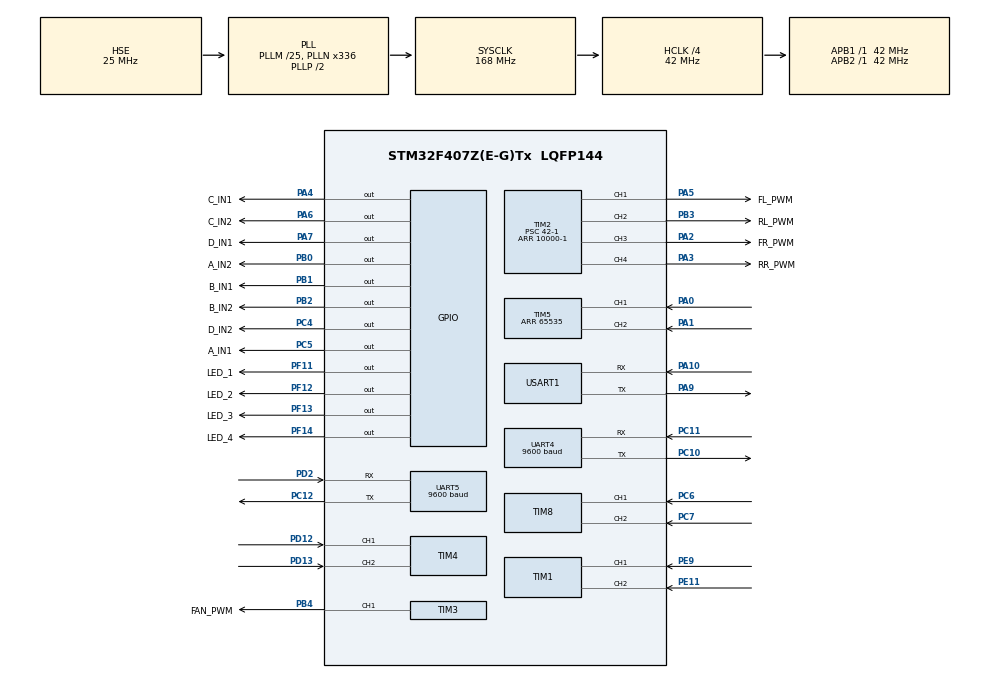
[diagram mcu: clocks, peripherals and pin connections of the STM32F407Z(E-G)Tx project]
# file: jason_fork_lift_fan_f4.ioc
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Mcu.Family=STM32F4
Mcu.Name=STM32F407Z(E-G)Tx
Mcu.Package=LQFP144
NVIC.PriorityGroup=NVIC_PRIORITYGROUP_4
PA0-WKUP.Signal=S_TIM5_CH1
PA1.Signal=S_TIM5_CH2
PA10.Mode=Asynchronous
PA10.Signal=USART1_RX
PA13.Mode=Serial_Wire
PA13.Signal=SYS_JTMS-SWDIO
PA14.Mode=Serial_Wire
PA14.Signal=SYS_JTCK-SWCLK
PA2.GPIO_Label=FR_PWM
PA2.Signal=S_TIM2_CH3
PA3.GPIO_Label=RR_PWM
PA3.Signal=S_TIM2_CH4
PA4.GPIO_Label=C_IN1
PA4.Signal=GPIO_Output
PA5.GPIO_Label=FL_PWM
PA5.Signal=S_TIM2_CH1_ETR
PA6.GPIO_Label=C_IN2
PA6.Signal=GPIO_Output
PA7.GPIO_Label=D_IN1
PA7.Signal=GPIO_Output
PA9.Mode=Asynchronous
PA9.Signal=USART1_TX
PB0.GPIO_Label=A_IN2
PB0.Signal=GPIO_Output
PB1.GPIO_Label=B_IN1
PB1.Signal=GPIO_Output
PB2.GPIO_Label=B_IN2
PB2.Signal=GPIO_Output
PB3.GPIO_Label=RL_PWM
PB3.Signal=S_TIM2_CH2
PB4.GPIO_Label=FAN_PWM
PB4.Signal=S_TIM3_CH1
PC10.Mode=Asynchronous
PC10.Signal=UART4_TX
PC11.Mode=Asynchronous
PC11.Signal=UART4_RX
PC12.Mode=Asynchronous
PC12.Signal=UART5_TX
PC14-OSC32_IN.Mode=LSE-External-Oscillator
PC14-OSC32_IN.Signal=RCC_OSC32_IN
PC15-OSC32_OUT.Mode=LSE-External-Oscillator
PC15-OSC32_OUT.Signal=RCC_OSC32_OUT
PC4.GPIO_Label=D_IN2
PC4.Signal=GPIO_Output
PC5.GPIO_Label=A_IN1
PC5.Signal=GPIO_Output
PC6.Signal=S_TIM8_CH1
PC7.Signal=S_TIM8_CH2
PD12.Signal=S_TIM4_CH1
PD13.Signal=S_TIM4_CH2
PD2.Mode=Asynchronous
PD2.Signal=UART5_RX
PE11.Signal=S_TIM1_CH2
PE9.Signal=S_TIM1_CH1
PF11.GPIO_Label=LED_1
PF11.Signal=GPIO_Output
PF12.GPIO_Label=LED_2
PF12.Signal=GPIO_Output
PF13.GPIO_Label=LED_3
PF13.Signal=GPIO_Output
PF14.GPIO_Label=LED_4
PF14.Signal=GPIO_Output
PH0-OSC_IN.Mode=HSE-External-Oscillator
PH0-OSC_IN.Signal=RCC_OSC_IN
PH1-OSC_OUT.Mode=HSE-External-Oscillator
PH1-OSC_OUT.Signal=RCC_OSC_OUT
ProjectManager.HeapSize=0x200
ProjectManager.StackSize=0x400
ProjectManager.TargetToolchain=STM32CubeIDE
RCC.48MHZClocksFreq_Value=84000000
RCC.AHBCLKDivider=RCC_SYSCLK_DIV4
RCC.AHBFreq_Value=42000000
RCC.APB1Freq_Value=42000000
RCC.APB1TimFreq_Value=42000000
RCC.APB2Freq_Value=42000000
RCC.APB2TimFreq_Value=42000000
RCC.CortexFreq_Value=42000000
RCC.HCLKFreq_Value=42000000
RCC.HSE_VALUE=25000000
RCC.HSI_VALUE=16000000
RCC.PLLM=25
RCC.PLLN=336
RCC.PLLSourceVirtual=RCC_PLLSOURCE_HSE
RCC.SYSCLKFreq_VALUE=168000000
RCC.SYSCLKSource=RCC_SYSCLKSOURCE_PLLCLK
RCC.VCOOutputFreq_Value=336000000
SH.S_TIM1_CH1.0=TIM1_CH1,Encoder_Interface
SH.S_TIM1_CH2.0=TIM1_CH2,Encoder_Interface
SH.S_TIM2_CH1_ETR.0=TIM2_CH1,PWM Generation1 CH1
SH.S_TIM2_CH2.0=TIM2_CH2,PWM Generation2 CH2
SH.S_TIM2_CH3.0=TIM2_CH3,PWM Generation3 CH3
SH.S_TIM2_CH4.0=TIM2_CH4,PWM Generation4 CH4
SH.S_TIM3_CH1.0=TIM3_CH1,PWM Generation1 CH1
SH.S_TIM4_CH1.0=TIM4_CH1,Encoder_Interface
SH.S_TIM4_CH2.0=TIM4_CH2,Encoder_Interface
SH.S_TIM5_CH1.0=TIM5_CH1,Encoder_Interface
SH.S_TIM5_CH2.0=TIM5_CH2,Encoder_Interface
SH.S_TIM8_CH1.0=TIM8_CH1,Encoder_Interface
SH.S_TIM8_CH2.0=TIM8_CH2,Encoder_Interface
TIM1.AutoReloadPreload=TIM_AUTORELOAD_PRELOAD_ENABLE
TIM1.EncoderMode=TIM_ENCODERMODE_TI12
TIM1.IC1Filter=5
TIM2.AutoReloadPreload=TIM_AUTORELOAD_PRELOAD_ENABLE
TIM2.Channel-PWM\ Generation1\ CH1=TIM_CHANNEL_1
TIM2.Channel-PWM\ Generation2\ CH2=TIM_CHANNEL_2
TIM2.Channel-PWM\ Generation3\ CH3=TIM_CHANNEL_3
TIM2.Channel-PWM\ Generation4\ CH4=TIM_CHANNEL_4
TIM2.Period=10000-1
TIM2.Prescaler=42-1
TIM3.AutoReloadPreload=TIM_AUTORELOAD_PRELOAD_ENABLE
TIM3.Channel-PWM\ Generation1\ CH1=TIM_CHANNEL_1
TIM3.Period=10000-1
TIM3.Prescaler=42-1
TIM4.AutoReloadPreload=TIM_AUTORELOAD_PRELOAD_ENABLE
TIM4.EncoderMode=TIM_ENCODERMODE_TI12
TIM4.IC1Filter=5
TIM4.IC2Filter=5
TIM5.AutoReloadPreload=TIM_AUTORELOAD_PRELOAD_ENABLE
TIM5.EncoderMode=TIM_ENCODERMODE_TI12
TIM5.IC1Filter=5
TIM5.IC2Filter=5
TIM5.Period=65535
TIM8.AutoReloadPreload=TIM_AUTORELOAD_PRELOAD_ENABLE
TIM8.EncoderMode=TIM_ENCODERMODE_TI12
TIM8.IC1Filter=5
TIM8.IC2Filter=5
UART4.BaudRate=9600
UART4.VirtualMode=Asynchronous
UART5.BaudRate=9600
UART5.VirtualMode=Asynchronous
USART1.VirtualMode=VM_ASYNC
VP_TIM2_VS_ClockSourceINT.Mode=Internal
VP_TIM3_VS_ClockSourceINT.Mode=Internal
board=custom

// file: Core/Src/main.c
/* USER CODE BEGIN Header */
/**
 ******************************************************************************
 * @file           : main.c
 * @brief          : Main program body
 ******************************************************************************
 * @attention
 *
 * Copyright (c) 2025 STMicroelectronics.
 * All rights reserved.
 *
 * This software is licensed under terms that can be found in the LICENSE file
 * in the root directory of this software component.
 * If no LICENSE file comes with this software, it is provided AS-IS.
 *
 ******************************************************************************
 */
/* USER CODE END Header */
#include "main.h"
#include "tim.h"
#include "usart.h"
#include "gpio.h"

/* USER CODE BEGIN Includes */
#include "auto_path.h"
#include "controller.h"
#include "mech.h"
#include "movement.h"
#include "robot.h"
#include "servo.h"

/* USER CODE END Includes */

/* USER CODE BEGIN PM */
#define TEST 1

/* USER CODE END PM */

/* USER CODE BEGIN PV */
int time_stamp = 0;

/* USER CODE END PV */

void SystemClock_Config(void);

int main(void)
{

  /* MCU Configuration--------------------------------------------------------*/

  /* Reset of all peripherals, Initializes the Flash interface and the Systick. */
  HAL_Init();

  /* Configure the system clock */
  SystemClock_Config();

  /* Initialize all configured peripherals */
  MX_GPIO_Init();
  MX_TIM1_Init();
  MX_TIM2_Init();
  MX_TIM3_Init();
  MX_TIM4_Init();
  MX_TIM5_Init();
  MX_TIM8_Init();
  MX_USART1_UART_Init();
  MX_UART5_Init();
  MX_UART4_Init();
  /* USER CODE BEGIN 2 */
  HAL_TIM_PWM_Start(&htim2, TIM_CHANNEL_1);
  HAL_TIM_PWM_Start(&htim2, TIM_CHANNEL_2);
  HAL_TIM_PWM_Start(&htim2, TIM_CHANNEL_3);
  HAL_TIM_PWM_Start(&htim2, TIM_CHANNEL_4);
  HAL_TIM_PWM_Start(&htim3, TIM_CHANNEL_1);
  HAL_TIM_Base_Start_IT(&htim1);
  HAL_TIM_Encoder_Start_IT(&htim1, TIM_CHANNEL_ALL);
  HAL_TIM_Base_Start_IT(&htim4);
  HAL_TIM_Encoder_Start_IT(&htim4, TIM_CHANNEL_ALL);
  HAL_TIM_Base_Start_IT(&htim5);
  HAL_TIM_Encoder_Start_IT(&htim5, TIM_CHANNEL_ALL);
  HAL_TIM_Base_Start_IT(&htim8);
  HAL_TIM_Encoder_Start_IT(&htim8, TIM_CHANNEL_ALL);

  HAL_GPIO_WritePin(LED_1_GPIO_Port, LED_1_Pin, GPIO_PIN_RESET);
  HAL_GPIO_WritePin(LED_2_GPIO_Port, LED_2_Pin, GPIO_PIN_RESET);
  HAL_GPIO_WritePin(LED_3_GPIO_Port, LED_3_Pin, GPIO_PIN_RESET);
  HAL_GPIO_WritePin(LED_4_GPIO_Port, LED_4_Pin, GPIO_PIN_RESET);

  // servo_reset_all();
  HAL_Delay(1000);
  // TIM3->CCR1 = 1500;
  // TIM3->CCR1 = 1500;
  // HAL_Delay(1000);
  // TIM2->CCR1 = 10000 / 2;
  // TIM2->CCR2 = 10000 / 2;
  // TIM2->CCR3 = 10000 / 2;
  // TIM2->CCR4 = 10000 / 2;

  // HAL_GPIO_WritePin(C_IN1_GPIO_Port, C_IN1_Pin, GPIO_PIN_SET);
  // HAL_GPIO_WritePin(C_IN2_GPIO_Port, C_IN2_Pin, GPIO_PIN_RESET);
  // HAL_GPIO_WritePin(A_IN1_GPIO_Port, A_IN1_Pin, GPIO_PIN_SET);
  // HAL_GPIO_WritePin(A_IN2_GPIO_Port, A_IN2_Pin, GPIO_PIN_RESET);
  // HAL_GPIO_WritePin(B_IN1_GPIO_Port, B_IN1_Pin, GPIO_PIN_SET);
  // HAL_GPIO_WritePin(B_IN2_GPIO_Port, B_IN2_Pin, GPIO_PIN_RESET);
  // HAL_GPIO_WritePin(D_IN1_GPIO_Port, D_IN1_Pin, GPIO_PIN_SET);
  // HAL_GPIO_WritePin(D_IN2_GPIO_Port, D_IN2_Pin, GPIO_PIN_RESET);

  /* USER CODE END 2 */

  /* Infinite loop */
  while (1) {

    /* USER CODE BEGIN 3 */
    HAL_Delay(1);
    read_current_velocity(encoders);
#if (TEST == 0)
    HAL_UART_Receive(&huart1, (uint8_t *)&controller_buffer, sizeof(controller_buffer), 0xFFFF);
    parse_controller_data(controller_buffer, &controller_state);

    if (controller_state.options_button && !prev_turn_on) {
      turn_on = !turn_on;
      HAL_GPIO_WritePin(LED_1_GPIO_Port, LED_1_Pin, turn_on ? GPIO_PIN_RESET : GPIO_PIN_SET);
    }
    prev_turn_on = controller_state.options_button;

    if (turn_on) {
      if (auto_path_selection == LEFT_PATH) {
        HAL_GPIO_WritePin(LED_2_GPIO_Port, LED_2_Pin, GPIO_PIN_SET);
        HAL_GPIO_WritePin(LED_3_GPIO_Port, LED_3_Pin, GPIO_PIN_SET);
        HAL_GPIO_WritePin(LED_4_GPIO_Port, LED_4_Pin, GPIO_PIN_RESET);
      } else if (auto_path_selection == MID_PATH) {
        HAL_GPIO_WritePin(LED_2_GPIO_Port, LED_2_Pin, GPIO_PIN_SET);
        HAL_GPIO_WritePin(LED_3_GPIO_Port, LED_3_Pin, GPIO_PIN_RESET);
        HAL_GPIO_WritePin(LED_4_GPIO_Port, LED_4_Pin, GPIO_PIN_SET);
      } else if (auto_path_selection == RIGHT_PATH) {
        HAL_GPIO_WritePin(LED_2_GPIO_Port, LED_2_Pin, GPIO_PIN_RESET);
        HAL_GPIO_WritePin(LED_3_GPIO_Port, LED_3_Pin, GPIO_PIN_SET);
        HAL_GPIO_WritePin(LED_4_GPIO_Port, LED_4_Pin, GPIO_PIN_SET);
      }

      if (controller_state.ps_button && !prev_auto_path_enable) {
        auto_path_enable = !auto_path_enable;
        if (auto_path_enable)
          follow_auto_path(auto_path_selection);
      }
      prev_auto_path_enable = controller_state.ps_button;

      if (controller_state.cross && !prev_auto_path_switch) {
        auto_path_switch = !auto_path_switch;
        if (auto_path_selection == LEFT_PATH)
          auto_path_selection = MID_PATH;
        else if (auto_path_selection == MID_PATH)
          auto_path_selection = RIGHT_PATH;
        else if (auto_path_selection == RIGHT_PATH)
          auto_path_selection = LEFT_PATH;
      }  // auto, choose path, toggle left / right / straight forward
      prev_auto_path_switch = controller_state.cross;

      if (controller_state.r1) {
        BaseVelocity target_vel = {0, 0, ROBOT_MAX_Z_VELOCITY * 0.35};
        movement_control(target_vel);
      } else if (controller_state.l1) {
        BaseVelocity target_vel = {0, 0, ROBOT_MAX_Z_VELOCITY * -0.35};
        movement_control(target_vel);
      } else if (controller_state.up) {
        BaseVelocity target_vel = {0,
                                   ROBOT_MAX_Y_VELOCITY * 0.75,
                                   0};
        movement_control(target_vel);
      } else if (controller_state.down) {
        BaseVelocity target_vel = {0,
                                   ROBOT_MAX_Y_VELOCITY * -0.75,
                                   0};
        movement_control(target_vel);
      } else if (controller_state.left) {
        BaseVelocity target_vel = {ROBOT_MAX_X_VELOCITY * -0.75,
                                   0,
                                   0};
        movement_control(target_vel);
      } else if (controller_state.right) {
        BaseVelocity target_vel = {ROBOT_MAX_X_VELOCITY * 0.75,
                                   0,
                                   0};
        movement_control(target_vel);
      } else {
        WheelPWM target_pwm = {0, 0, 0, 0};
        wheels_control(target_pwm);
      }
    }

    if (controller_state.triangle && !prev_turn_on_fan) {
      turn_on_fan = !turn_on_fan;
      if (turn_on_fan)
        TIM3->CCR1 = 1250;
      else
        TIM3->CCR1 = 1300;
    }
    prev_turn_on_fan = controller_state.triangle;
#else
    HAL_GPIO_WritePin(LED_1_GPIO_Port, LED_1_Pin, GPIO_PIN_RESET);
    HAL_GPIO_WritePin(LED_2_GPIO_Port, LED_2_Pin, GPIO_PIN_RESET);
    HAL_GPIO_WritePin(LED_3_GPIO_Port, LED_3_Pin, GPIO_PIN_RESET);
    uint8_t send_buffer_test[10];
    send_buffer_test[0] = 0x55;
    send_buffer_test[1] = 0x55;
    send_buffer_test[2] = 0x08;
    send_buffer_test[3] = 0x03;
    send_buffer_test[4] = 0x01;
    send_buffer_test[5] = 0xE8;
    send_buffer_test[6] = 0x03;
    send_buffer_test[7] = 0x01;
    send_buffer_test[8] = 0x20;
    send_buffer_test[9] = 0x03;
    HAL_UART_Transmit(&huart4, send_buffer_test, sizeof(send_buffer_test), 0xFFFF);
    HAL_Delay(3000);
    // TIM2->CCR1 = 10000 / 3;
    // TIM2->CCR2 = 10000 / 3;
    // TIM2->CCR3 = 10000 / 3;
    // TIM2->CCR4 = 10000 / 3;
    // HAL_GPIO_WritePin(C_IN1_GPIO_Port, C_IN1_Pin, GPIO_PIN_SET);
    // HAL_GPIO_WritePin(C_IN2_GPIO_Port, C_IN2_Pin, GPIO_PIN_RESET);
    // HAL_GPIO_WritePin(A_IN1_GPIO_Port, A_IN1_Pin, GPIO_PIN_SET);
    // HAL_GPIO_WritePin(A_IN2_GPIO_Port, A_IN2_Pin, GPIO_PIN_RESET);
    // HAL_GPIO_WritePin(B_IN1_GPIO_Port, B_IN1_Pin, GPIO_PIN_SET);
    // HAL_GPIO_WritePin(B_IN2_GPIO_Port, B_IN2_Pin, GPIO_PIN_RESET);
    // HAL_GPIO_WritePin(D_IN1_GPIO_Port, D_IN1_Pin, GPIO_PIN_SET);
    // HAL_GPIO_WritePin(D_IN2_GPIO_Port, D_IN2_Pin, GPIO_PIN_RESET);
#endif
  }
  /* USER CODE END 3 */
}

void SystemClock_Config(void)
{
  RCC_OscInitTypeDef RCC_OscInitStruct = {0};
  RCC_ClkInitTypeDef RCC_ClkInitStruct = {0};

  /** Configure the main internal regulator output voltage
  */
  __HAL_RCC_PWR_CLK_ENABLE();
  __HAL_PWR_VOLTAGESCALING_CONFIG(PWR_REGULATOR_VOLTAGE_SCALE1);

  /** Initializes the RCC Oscillators according to the specified parameters
  * in the RCC_OscInitTypeDef structure.
  */
  RCC_OscInitStruct.OscillatorType = RCC_OSCILLATORTYPE_HSE;
  RCC_OscInitStruct.HSEState = RCC_HSE_ON;
  RCC_OscInitStruct.PLL.PLLState = RCC_PLL_ON;
  RCC_OscInitStruct.PLL.PLLSource = RCC_PLLSOURCE_HSE;
  RCC_OscInitStruct.PLL.PLLM = 25;
  RCC_OscInitStruct.PLL.PLLN = 336;
  RCC_OscInitStruct.PLL.PLLP = RCC_PLLP_DIV2;
  RCC_OscInitStruct.PLL.PLLQ = 4;
  if (HAL_RCC_OscConfig(&RCC_OscInitStruct) != HAL_OK)
  {
    Error_Handler();
  }

  /** Initializes the CPU, AHB and APB buses clocks
  */
  RCC_ClkInitStruct.ClockType = RCC_CLOCKTYPE_HCLK|RCC_CLOCKTYPE_SYSCLK
                              |RCC_CLOCKTYPE_PCLK1|RCC_CLOCKTYPE_PCLK2;
  RCC_ClkInitStruct.SYSCLKSource = RCC_SYSCLKSOURCE_PLLCLK;
  RCC_ClkInitStruct.AHBCLKDivider = RCC_SYSCLK_DIV4;
  RCC_ClkInitStruct.APB1CLKDivider = RCC_HCLK_DIV1;
  RCC_ClkInitStruct.APB2CLKDivider = RCC_HCLK_DIV1;

  if (HAL_RCC_ClockConfig(&RCC_ClkInitStruct, FLASH_LATENCY_1) != HAL_OK)
  {
    Error_Handler();
  }
}

void Error_Handler(void)
{
  __disable_irq();
  while (1) {
  }
}
